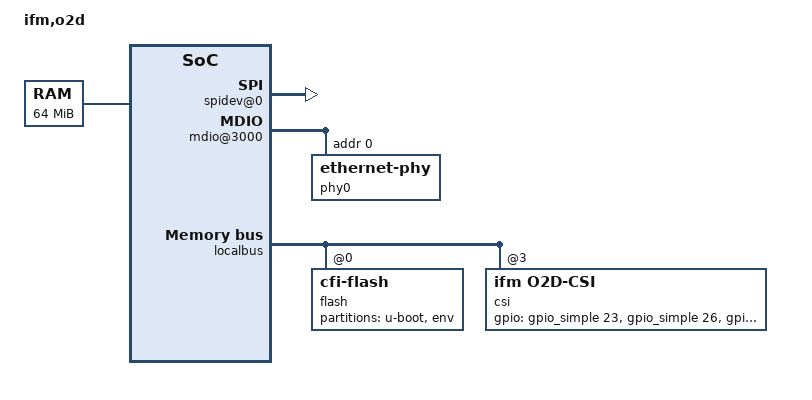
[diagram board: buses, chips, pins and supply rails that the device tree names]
/*
 * O2D base Device Tree Source
 *
 * Copyright (C) 2012 DENX Software Engineering
 * Anatolij Gustschin <agust@denx.de>
 *
 * This program is free software; you can redistribute  it and/or modify it
 * under  the terms of  the GNU General  Public License as published by the
 * Free Software Foundation;  either version 2 of the  License, or (at your
 * option) any later version.
 */

/include/ "mpc5200b.dtsi"

/ {
	model = "ifm,o2d";
	compatible = "ifm,o2d";

	memory {
		reg = <0x00000000 0x04000000>;	// 64MB
	};

	soc5200@f0000000 {

		gpio_simple: gpio@b00 {
		};

		timer@600 {	// General Purpose Timer
			#gpio-cells = <2>;
			gpio-controller;
			fsl,has-wdt;
			fsl,wdt-on-boot = <0>;
		};

		timer@610 {
			#gpio-cells = <2>;
			gpio-controller;
		};

		timer7: timer@670 {
		};

		rtc@800 {
			status = "disabled";
		};

		psc@2000 {		// PSC1
			compatible = "fsl,mpc5200b-psc-spi","fsl,mpc5200-psc-spi";
			#address-cells = <1>;
			#size-cells = <0>;
			cell-index = <0>;

			spidev@0 {
				compatible = "spidev";
				spi-max-frequency = <250000>;
				reg = <0>;
			};
		};

		psc@2200 {		// PSC2
			status = "disabled";
		};

		psc@2400 {		// PSC3
			status = "disabled";
		};

		psc@2600 {		// PSC4
			compatible = "fsl,mpc5200b-psc-uart","fsl,mpc5200-psc-uart";
		};

		psc@2800 {		// PSC5
			compatible = "fsl,mpc5200b-psc-uart","fsl,mpc5200-psc-uart";
		};

		psc@2c00 {		// PSC6
			status = "disabled";
		};

		ethernet@3000 {
			phy-handle = <&phy0>;
		};

		mdio@3000 {
			phy0: ethernet-phy@0 {
				reg = <0>;
			};
		};

		sclpc@3c00 {
			compatible = "fsl,mpc5200-lpbfifo";
			reg = <0x3c00 0x60>;
			interrupts = <3 23 0>;
		};
	};

	localbus {
		ranges = <0 0 0xff000000 0x01000000
			  3 0 0xe3000000 0x00100000>;

		// flash device at LocalPlus Bus CS0
		flash@0,0 {
			compatible = "cfi-flash";
			reg = <0 0 0x01000000>;
			bank-width = <1>;
			device-width = <2>;
			#size-cells = <1>;
			#address-cells = <1>;
			no-unaligned-direct-access;

			/* common layout for all machines */
			partition@0 {
				label = "u-boot";
				reg = <0x00000000 0x00040000>;
				read-only;
			};
			partition@40000 {
				label = "env";
				reg = <0x00040000 0x00020000>;
				read-only;
			};
		};

		csi@3,0 {
			compatible = "ifm,o2d-csi";
			reg = <3 0 0x00100000>;
			ifm,csi-clk-handle = <&timer7>;
			gpios = <&gpio_simple 23 0	/* imag_capture */
				 &gpio_simple 26 0	/* imag_reset */
				 &gpio_simple 29 0>;	/* imag_master_en */

			interrupts = <1 1 2>;		/* IRQ1, edge falling */

			ifm,csi-addr-bus-width = <24>;
			ifm,csi-data-bus-width = <8>;
			ifm,csi-wait-cycles = <0>;
		};
	};
};
